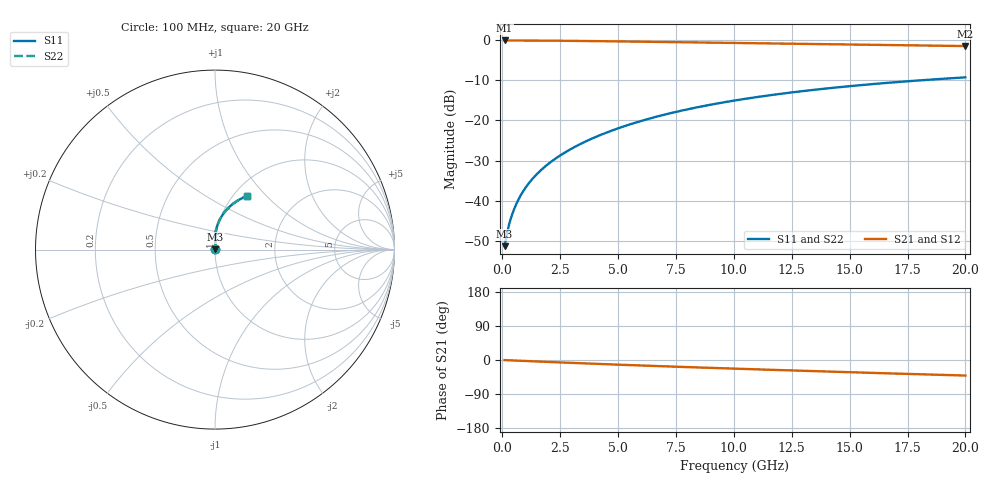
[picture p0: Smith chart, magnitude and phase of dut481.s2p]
! Touchstone file exported from HFSS 2024.1.0
!  File:  C:/UserFiles/LocalFiles/RDL_TSV_Batchsim/temp_RDL_top_481_1779678312.aedt
!  Generated:  11:07:18 AM May 25, 2026
!  Design:  RDL_top
!  Project:  temp_RDL_top_481_1779678312
!  Setup:  Setup1
!  Solution:  Sweep
! Variables:
!  dtsv = 10.80580581um
!  hbump = 3um
!  htsv = 56.72um
!  ldown = 100um
!  lrdl = 592.63um
!  p = 40
!  p1 = 56.65um
!  rhole = 1um
!  t = 450um
!  tdown = 3.915915916um
!  trdl = 3.92um
!  wdown = 15.38538539um
!  wrdl = 27.84um
# GHz S MA R 50.000000
! Terminal data exported
! Port[1] = Box2_T1
! Port[2] = Box2_T2
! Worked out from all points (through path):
!   200 points, 100 MHz to 20 GHz, reference 50 ohm
!   highest |S21| = -0.02 dB at 100 MHz (marker M1); lowest = -1.4 dB at 20 GHz (marker M2)
!   group delay of S21, straight-line fit = 5.61 ps
!   lowest |S11| = -51.4 dB at 100 MHz (marker M3), VSWR 1.01, Z = 50.2 + j0.163 ohm
!   |S11| at or under -10 dB: start of sweep to 18 GHz
!   |S22| runs from -51.4 to -9.2 dB; largest |S21 - S12| = 6e-15
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0.1  0.002694 36.9  0.9978 -0.3  0.9978 -0.3  0.002694 36.9
! Gamma 0 0 0 0
! Port Impedance 50 0 50 0
0.2  0.003874 53.5  0.9976 -0.5  0.9976 -0.5  0.003874 53.5
0.3  0.005126 61.8  0.9974 -0.8  0.9974 -0.8  0.005126 61.8
0.4  0.006393 67.1  0.9972 -1.1  0.9972 -1.1  0.006393 67.1
0.5  0.007681 70.9  0.997 -1.3  0.997 -1.3  0.007681 70.9
0.6  0.00899 73.8  0.9968 -1.6  0.9968 -1.6  0.00899 73.8
0.8  0.01167 77.8  0.9964 -2.1  0.9964 -2.1  0.01167 77.8
1.1  0.0158 81.6  0.9956 -2.9  0.9956 -2.9  0.0158 81.6
1.3  0.01862 83.3  0.995 -3.4  0.995 -3.4  0.01862 83.4
1.6  0.02295 85.2  0.9939 -4.1  0.9939 -4.1  0.02295 85.2
2.1  0.0304 87.3  0.9916 -5.4  0.9916 -5.4  0.0304 87.3
2.7  0.03976 88.7  0.9883 -6.9  0.9883 -6.9  0.03977 88.7
3.5  0.05298 89.5  0.983 -8.8  0.983 -8.8  0.053 89.5
4.2  0.06518 89.6  0.9778 -10.5  0.9778 -10.5  0.06521 89.6
5  0.07976 89.1  0.9714 -12.3  0.9714 -12.3  0.0798 89.1
5.9  0.09677 88.0  0.9639 -14.3  0.9639 -14.3  0.09682 88.0
6.8  0.1142 86.6  0.9562 -16.3  0.9562 -16.3  0.1143 86.6
8.4  0.1456 83.5  0.9427 -19.6  0.9427 -19.6  0.1457 83.5
10.1  0.1788 79.9  0.9285 -23.0  0.9285 -23.0  0.1789 79.9
13.4  0.2403 72.7  0.9015 -29.3  0.9015 -29.3  0.2404 72.7
16.7  0.2961 65.8  0.8751 -35.3  0.8751 -35.3  0.2963 65.8
20  0.3454 59.3  0.849 -41.0  0.849 -41.0  0.3457 59.4
